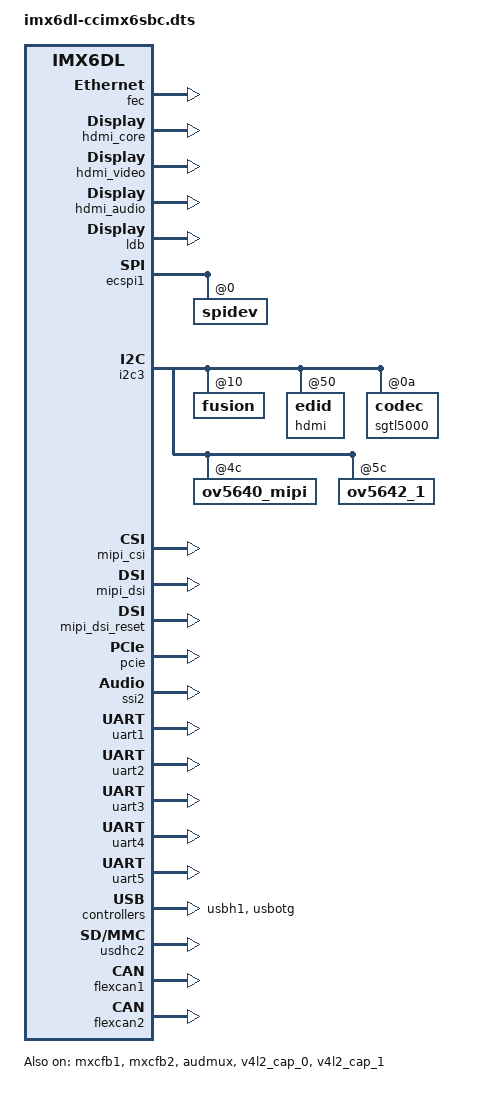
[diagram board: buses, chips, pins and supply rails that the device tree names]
/*
 * Copyright 2015 Digi International, Inc.
 *
 * The code contained herein is licensed under the GNU General Public
 * License. You may obtain a copy of the GNU General Public License
 * Version 2 or later at the following locations:
 *
 * http://www.opensource.org/licenses/gpl-license.html
 * http://www.gnu.org/copyleft/gpl.html
 */

/dts-v1/;
#include "imx6dl.dtsi"
/* ConnectCore 6 (common)*/
#include "imx6qdl-ccimx6.dtsi"
/* ConnectCore 6 DualLite/Solo SBC carrier board */
#include "imx6dl-ccimx6sbc.dtsi"

&fec {
	status = "okay";
};

&hdmi_core {
	status = "okay";
};

&hdmi_video {
	status = "okay";
};

&hdmi_audio {
	status = "okay";
};

&sound_hdmi {
	status = "okay";
};

&sound_sgtl5000 {
	status = "okay";
};

&ldb {
	status = "okay";

	lvds-channel@0 {
		status = "okay";
	};
};

&mxcfb1 {
	status = "okay";
};

&mxcfb2 {
	status = "okay";
};

&audmux {
	status = "okay";
};

&ecspi1 {
	status = "okay";

	spidev@0 {
		status = "okay";
	};
};

&i2c3 {
	status = "okay";

	fusion@10 {
		status = "okay";
	};

	hdmi: edid@50 {
		status = "okay";
	};

	sgtl5000: codec@0a {
		status = "okay";
	};

	/* MIPI-CSI2 camera */
	ov5640_mipi: ov5640_mipi@4c {
		status = "okay";
	};

	/* Parallel camera CSI0 */
	ov5642_1: ov5642_1@5c {
		status = "okay";
	};
};

&mipi_csi {
	status = "okay";
};

&mipi_dsi {
	status = "okay";
};

&mipi_dsi_reset {
	status = "okay";
};

&pcie {
	status = "okay";
};

&ssi2 {
	status = "okay";
};

&uart1 {
	status = "okay";
};

&uart2 {
	status = "okay";
};

&uart3 {
	status = "okay";
};

&uart4 {
	status = "okay";
};

&uart5 {
	status = "okay";
};

&usbh1 {
	status = "okay";
};

&usbotg {
	status = "okay";
};

&usdhc2 {
	status = "okay";
};

&flexcan1 {
	status = "okay";
};

&flexcan2 {
	status = "okay";
};

&v4l2_cap_0 {
	status = "okay";
};

&v4l2_cap_1 {
	status = "okay";
};

&v4l2_out {
	status = "okay";
};
